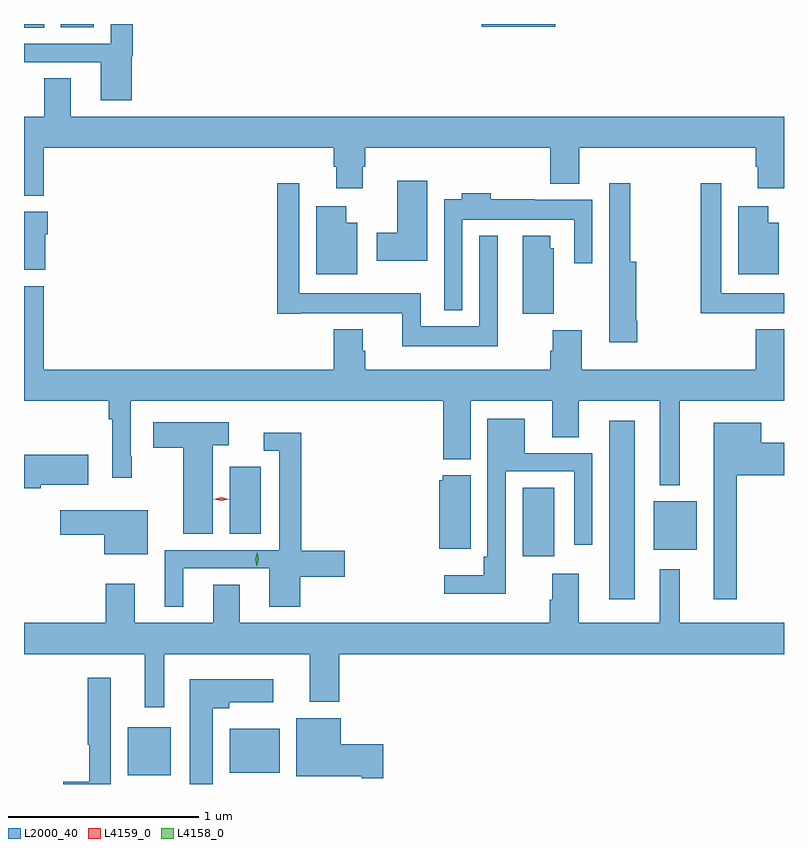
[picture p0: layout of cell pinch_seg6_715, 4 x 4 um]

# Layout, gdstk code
import gdstk
lib = gdstk.Library(unit=1e-6, precision=1e-09)
def R(c, l, rs):  # rectangles x0, y0, x1, y1
    for r in rs: c.add(gdstk.rectangle(r[:2], r[2:], *l))
def P(c, l, *ps):  # polygons
    for p in ps: c.add(gdstk.Polygon(p, *l))
L2000_40 = (2000, 40)
L4158_0 = (4158, 0)
L4159_0 = (4159, 0)

pinch_seg6_715 = lib.new_cell('pinch_seg6_715')
R(pinch_seg6_715, L2000_40, [(624.131,938.705,624.358,938.959), (624.668,938.72,624.931,938.95), (626.666,939.633,626.8,940.573), (626.21,939.858,626.377,940.22), (626.9,939.893,627.127,940.147), (624.668,939.976,624.832,940.33), (623.586,942.64,623.692,942.66), (623.78,942.644,623.953,942.66), (625.994,942.646,626.383,942.66)])
P(pinch_seg6_715, L2000_40, [(624.152,942.491),(624.158,942.491),(624.158,942.66),(624.042,942.66),(624.042,942.555),(623.586,942.555),(623.586,942.459),(623.99,942.459),(623.99,942.258),(624.152,942.258)],
  [(623.69,942.008),(625.217,942.008),(625.217,941.91),(625.229,941.91),(625.229,941.796),(625.369,941.796),(625.369,941.91),(625.382,941.91),(625.382,942.008),(626.357,942.008),(626.357,941.819),(626.509,941.819),(626.509,942.008),(627.437,942.008),(627.437,941.91),(627.449,941.91),(627.449,941.796),(627.586,941.796),(627.586,942.172),(623.833,942.172),(623.833,942.374),(623.693,942.374),(623.693,942.172),(623.586,942.172),(623.586,941.756),(623.69,941.756)],
  [(625.708,941.836),(625.55,941.836),(625.55,941.562),(625.443,941.562),(625.443,941.414),(625.708,941.414)],
  [(627.586,941.242),(627.255,941.242),(627.255,941.821),(627.147,941.821),(627.147,941.138),(627.586,941.138)],
  [(626.813,941.098),(626.808,941.098),(626.808,941.41),(626.776,941.41),(626.776,941.821),(626.667,941.821),(626.667,941.306),(626.666,941.306),(626.666,940.986),(626.813,940.986)],
  [(626.08,941.545),(625.983,941.545),(625.983,941.068),(625.674,941.068),(625.674,941.242),(625.035,941.242),(625.035,941.821),(624.919,941.821),(624.919,941.136),(625.042,941.136),(625.042,941.138),(625.577,941.138),(625.577,940.964),(626.08,940.964)],
  [(625.893,941.63),(626.481,941.63),(626.481,941.4),(626.577,941.4),(626.577,941.734),(626.273,941.734),(626.273,941.737),(626.042,941.737),(626.042,941.77),(625.889,941.77),(625.889,941.737),(625.797,941.737),(625.797,941.153),(625.893,941.153)],
  [(625.339,941.614),(625.282,941.614),(625.282,941.701),(625.124,941.701),(625.124,941.342),(625.339,941.342)],
  [(627.559,941.614),(627.502,941.614),(627.502,941.701),(627.344,941.701),(627.344,941.342),(627.559,941.342)],
  [(623.698,941.553),(623.71,941.553),(623.71,941.671),(623.586,941.671),(623.586,941.366),(623.698,941.366)],
  [(626.374,941.481),(626.356,941.481),(626.356,941.545),(626.21,941.545),(626.21,941.134),(626.374,941.134)],
  [(627.037,940.676),(627.586,940.676),(627.586,941.053),(627.437,941.053),(627.437,940.84),(626.522,940.84),(626.522,941.049),(626.369,941.049),(626.369,940.94),(626.357,940.94),(626.357,940.84),(625.382,940.84),(625.382,940.941),(625.369,940.941),(625.369,941.053),(625.217,941.053),(625.217,940.84),(623.69,940.84),(623.69,941.281),(623.586,941.281),(623.586,940.676),(624.031,940.676),(624.031,940.58),(624.051,940.58),(624.051,940.272),(624.152,940.272),(624.152,940.384),(624.147,940.384),(624.147,940.676),(625.793,940.676),(625.793,940.37),(625.936,940.37),(625.936,940.676),(626.366,940.676),(626.366,940.486),(626.506,940.486),(626.506,940.676),(626.933,940.676),(626.933,940.232),(627.037,940.232)],
  [(626.121,940.305),(626.481,940.305),(626.481,939.918),(626.577,939.918),(626.577,940.401),(626.221,940.401),(626.221,940.582),(626.025,940.582),(626.025,939.856),(626.005,939.856),(626.005,939.76),(625.797,939.76),(625.797,939.662),(626.121,939.662)],
  [(624.58,940.442),(624.664,940.442),(624.664,940.564),(624.267,940.564),(624.267,940.43),(624.425,940.43),(624.425,939.976),(624.58,939.976)],
  [(627.337,940.286),(627.586,940.286),(627.586,940.456),(627.466,940.456),(627.466,940.561),(627.215,940.561),(627.215,939.633),(627.337,939.633)],
  [(624.424,939.795),(624.878,939.795),(624.878,939.594),(625.04,939.594),(625.04,939.752),(625.273,939.752),(625.273,939.887),(625.046,939.887),(625.046,940.51),(624.849,940.51),(624.849,940.413),(624.93,940.413),(624.93,939.891),(624.326,939.891),(624.326,939.594),(624.424,939.594)],
  [(623.674,940.235),(623.923,940.235),(623.923,940.393),(623.586,940.393),(623.586,940.216),(623.674,940.216)],
  [(625.936,940.285),(625.791,940.285),(625.791,940.26),(625.772,940.26),(625.772,939.899),(625.936,939.899)],
  [(624.238,940.102),(623.778,940.102),(623.778,939.973),(624.008,939.973),(624.008,939.869),(624.238,939.869)],
  [(624.325,939.344),(625.091,939.344),(625.091,939.092),(625.244,939.092),(625.244,939.344),(627.586,939.344),(627.586,939.508),(627.037,939.508),(627.037,939.79),(626.933,939.79),(626.933,939.508),(626.506,939.508),(626.506,939.766),(626.366,939.766),(626.366,939.629),(626.354,939.629),(626.354,939.508),(624.721,939.508),(624.721,939.71),(624.581,939.71),(624.581,939.508),(624.169,939.508),(624.169,939.715),(624.017,939.715),(624.017,939.508),(623.586,939.508),(623.586,939.344),(624.221,939.344),(624.221,939.063),(624.325,939.063)],
  [(624.043,939.22),(623.922,939.22),(623.922,938.867),(623.929,938.867),(623.929,938.671),(623.792,938.671),(623.792,938.66),(624.043,938.66)],
  [(624.58,939.059),(624.667,939.059),(624.667,939.089),(624.898,939.089),(624.898,939.211),(624.458,939.211),(624.458,938.66),(624.58,938.66)],
  [(625.477,938.868),(625.252,938.868),(625.252,939.007),(625.019,939.007),(625.019,938.702),(625.364,938.702),(625.364,938.69),(625.477,938.69)])
P(pinch_seg6_715, L4158_0, [(624.811,939.806),(624.81,939.807),(624.802,939.843),(624.813,939.879),(624.813,939.879),(624.814,939.879),(624.822,939.842),(624.811,939.807)])
P(pinch_seg6_715, L4159_0, [(624.624,940.15),(624.584,940.16),(624.584,940.16),(624.584,940.16),(624.624,940.17),(624.664,940.16),(624.665,940.16),(624.664,940.16)])

lib.write_gds('pinch_seg6_715.gds')
